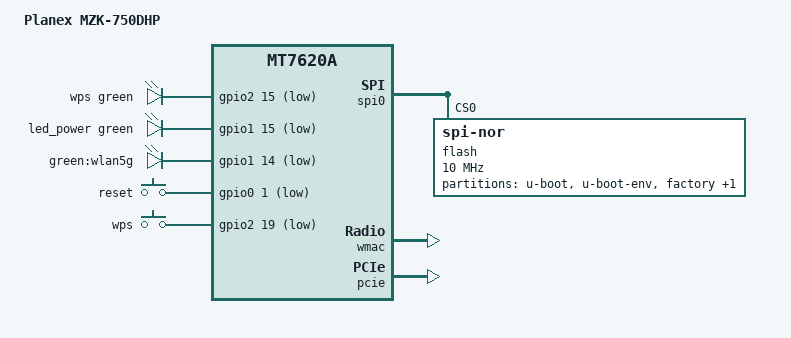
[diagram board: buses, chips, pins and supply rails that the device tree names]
#include "mt7620a.dtsi"

#include <dt-bindings/gpio/gpio.h>
#include <dt-bindings/input/input.h>
#include <dt-bindings/leds/common.h>

/ {
	compatible = "planex,mzk-750dhp", "ralink,mt7620a-soc";
	model = "Planex MZK-750DHP";

	aliases {
		led-boot = &led_power;
		led-failsafe = &led_power;
		led-running = &led_power;
		led-upgrade = &led_power;
	};

	leds {
		compatible = "gpio-leds";

		wps {
			function = LED_FUNCTION_WPS;
			color = <LED_COLOR_ID_GREEN>;
			gpios = <&gpio2 15 GPIO_ACTIVE_LOW>;
		};

		led_power: power {
			function = LED_FUNCTION_POWER;
			color = <LED_COLOR_ID_GREEN>;
			gpios = <&gpio1 15 GPIO_ACTIVE_LOW>;
		};

		wlan5g {
			label = "green:wlan5g";
			gpios = <&gpio1 14 GPIO_ACTIVE_LOW>;
		};
	};

	keys {
		compatible = "gpio-keys";

		s1 {
			label = "reset";
			gpios = <&gpio0 1 GPIO_ACTIVE_LOW>;
			linux,code = <KEY_RESTART>;
		};

		s2 {
			label = "wps";
			gpios = <&gpio2 19 GPIO_ACTIVE_LOW>;
			linux,code = <KEY_WPS_BUTTON>;
		};
	};
};

&gpio1 {
	status = "okay";
};

&gpio2 {
	status = "okay";
};

&spi0 {
	status = "okay";

	flash@0 {
		compatible = "jedec,spi-nor";
		reg = <0>;
		spi-max-frequency = <10000000>;

		partitions {
			compatible = "fixed-partitions";
			#address-cells = <1>;
			#size-cells = <1>;

			partition@0 {
				label = "u-boot";
				reg = <0x0 0x30000>;
				read-only;
			};

			partition@30000 {
				label = "u-boot-env";
				reg = <0x30000 0x10000>;
				read-only;
			};

			partition@40000 {
				label = "factory";
				reg = <0x40000 0x10000>;
				read-only;

				nvmem-layout {
					compatible = "fixed-layout";
					#address-cells = <1>;
					#size-cells = <1>;

					eeprom_factory_0: eeprom@0 {
						reg = <0x0 0x200>;
					};

					eeprom_factory_8000: eeprom@8000 {
						reg = <0x8000 0x200>;
					};

					macaddr_factory_4: macaddr@4 {
						reg = <0x4 0x6>;
					};
				};
			};

			partition@50000 {
				compatible = "denx,uimage";
				label = "firmware";
				reg = <0x50000 0x7b0000>;
			};
		};
	};
};

&state_default {
	gpio {
		groups = "i2c", "spi refclk", "rgmii1", "nd_sd";
		function = "gpio";
	};
};

&ethernet {
	pinctrl-names = "default";
	pinctrl-0 = <&ephy_pins>;

	nvmem-cells = <&macaddr_factory_4>;
	nvmem-cell-names = "mac-address";

	mediatek,portmap = "llllw";
};

&wmac {
	nvmem-cells = <&eeprom_factory_0>;
	nvmem-cell-names = "eeprom";
};

&pcie {
	status = "okay";
};

&pcie0 {
	mt76@0,0 {
		reg = <0x0000 0 0 0 0>;
		nvmem-cells = <&eeprom_factory_8000>;
		nvmem-cell-names = "eeprom";
	};
};
